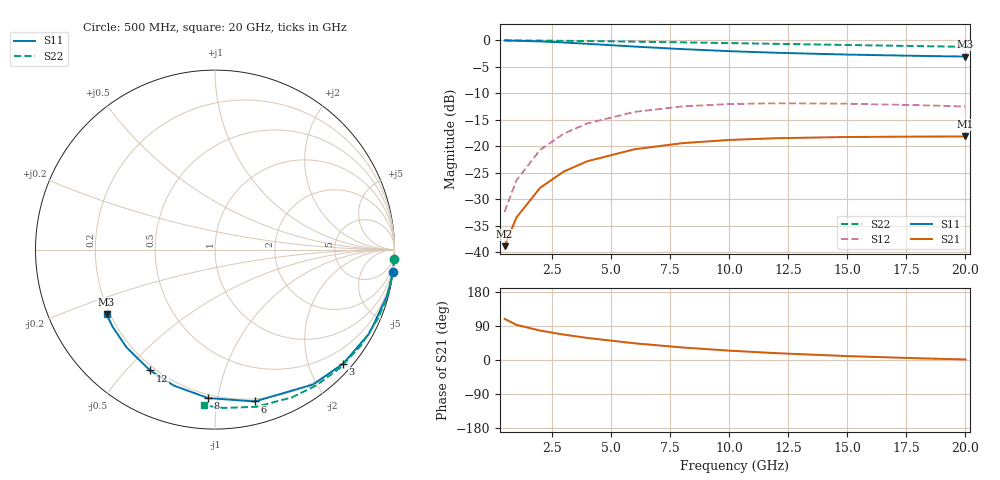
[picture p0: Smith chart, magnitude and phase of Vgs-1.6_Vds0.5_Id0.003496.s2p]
# Hz S RI R 50
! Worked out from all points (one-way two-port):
!   12 points, 500 MHz to 20 GHz, reference 50 ohm
!   highest |S21| = -18.16 dB at 20 GHz (marker M1); lowest = -38.9 dB at 500 MHz (marker M2)
!   lowest |S11| = -3.1 dB at 20 GHz (marker M3), VSWR 5.75, Z = 9.34 - j13.4 ohm
!   |S11| at or under -10 dB: nowhere
!   |S22| runs from -1.2 to 0.0 dB; largest |S21 - S12| = 0.15
!   S11 on the Smith chart (normalised r, x): 500 MHz: 0, -16; 3 GHz: 0.18, -2.62; 6 GHz: 0.18, -1.28; 8 GHz: 0.18, -0.94; 12 GHz: 0.18, -0.58; 20 GHz: 0.19, -0.27
5e8  0.9906 -0.1259  -0.00361 0.0108  0.00227 0.0239  0.9979 -0.05
1e9  0.9631 -0.2478  -0.001 0.0212  0.00894 0.0468  0.9935 -0.0997
2e9  0.8607 -0.4661  0.00867 0.0395  0.0335 0.0859  0.976 -0.1972
3e9  0.7139 -0.6357  0.0224 0.0531  0.0681 0.1124  0.948 -0.2904
4e9  0.5465 -0.7515  0.038 0.0614  0.1064 0.1252  0.9106 -0.3784
6e9  0.2217 -0.8461  0.0673 0.0651  0.1756 0.1173  0.8138 -0.5338
8e9  -0.0387 -0.8271  0.0895 0.0584  0.2222 0.0842  0.6952 -0.6604
1e10  -0.2279 -0.7583  0.1042 0.048  0.2467 0.044  0.5646 -0.7562
1.2e10  -0.3616 -0.6734  0.1133 0.0369  0.2549 0.00569  0.4293 -0.8231
1.5e10  -0.4922 -0.5458  0.1203 0.022  0.2489 -0.0417  0.2301 -0.8757
1.8e10  -0.5703 -0.4302  0.123 0.0098  0.2322 -0.0758  0.0475 -0.8824
2e10  -0.604 -0.3609  0.1236 0.00307  0.2189 -0.0924  -0.0621 -0.8678
